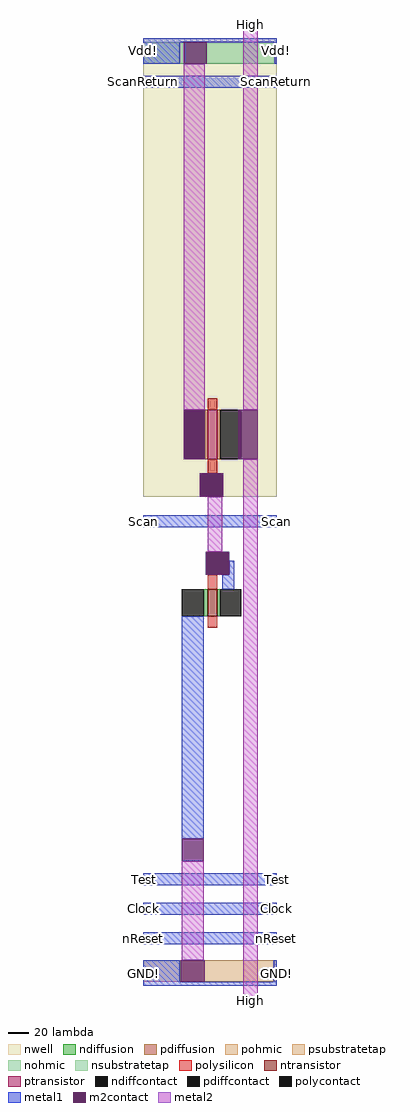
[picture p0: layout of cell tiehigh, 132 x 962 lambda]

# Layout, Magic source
magic
tech tsmc180
<< nwell >>
rect 0 496 132 948
<< polysilicon >>
rect 64 582 73 593
rect 64 519 73 533
rect 64 405 73 419
rect 64 367 73 378
<< ndiffusion >>
rect 60 378 64 405
rect 73 378 76 405
<< pdiffusion >>
rect 61 533 64 582
rect 73 533 76 582
<< pohmic >>
rect 0 18 36 39
rect 129 18 132 39
<< nohmic >>
rect 0 923 36 944
rect 130 923 132 944
<< ntransistor >>
rect 64 378 73 405
<< ptransistor >>
rect 64 533 73 582
<< polycontact >>
rect 56 496 79 519
rect 62 419 85 442
<< ndiffcontact >>
rect 38 378 60 405
rect 76 378 97 405
<< pdiffcontact >>
rect 40 533 61 582
rect 76 533 97 582
<< psubstratetap >>
rect 36 18 129 39
<< nsubstratetap >>
rect 36 923 130 944
<< metal1 >>
rect 0 944 132 948
rect 0 923 36 944
rect 130 923 132 944
rect 0 899 132 911
rect 0 466 132 478
rect 85 419 90 433
rect 78 405 90 419
rect 38 159 60 378
rect 0 113 132 125
rect 0 84 132 96
rect 0 55 132 67
rect 0 18 36 39
rect 129 18 132 39
rect 0 14 132 18
<< m2contact >>
rect 40 923 63 944
rect 40 533 61 582
rect 94 533 97 582
rect 97 533 113 582
rect 56 496 79 519
rect 62 419 85 442
rect 38 137 60 159
rect 37 18 61 39
<< metal2 >>
rect 40 582 61 923
rect 99 582 113 962
rect 64 442 78 496
rect 38 39 60 137
rect 99 0 113 533
<< labels >>
rlabel metal1 132 113 132 125 7 Test
rlabel metal1 132 84 132 96 7 Clock
rlabel metal1 132 55 132 67 7 nReset
rlabel metal1 132 923 132 948 7 Vdd!
rlabel metal1 132 14 132 39 7 GND!
rlabel metal1 132 466 132 478 7 Scan
rlabel metal1 132 899 132 911 7 ScanReturn
rlabel metal1 0 14 0 39 3 GND!
rlabel metal1 0 55 0 67 3 nReset
rlabel metal1 0 84 0 96 3 Clock
rlabel metal1 0 113 0 125 3 Test
rlabel metal1 0 923 0 948 3 Vdd!
rlabel metal1 0 466 0 478 3 Scan
rlabel metal1 0 899 0 911 3 ScanReturn
rlabel metal2 99 962 113 962 5 High
rlabel metal2 99 0 113 0 1 High
<< end >>
